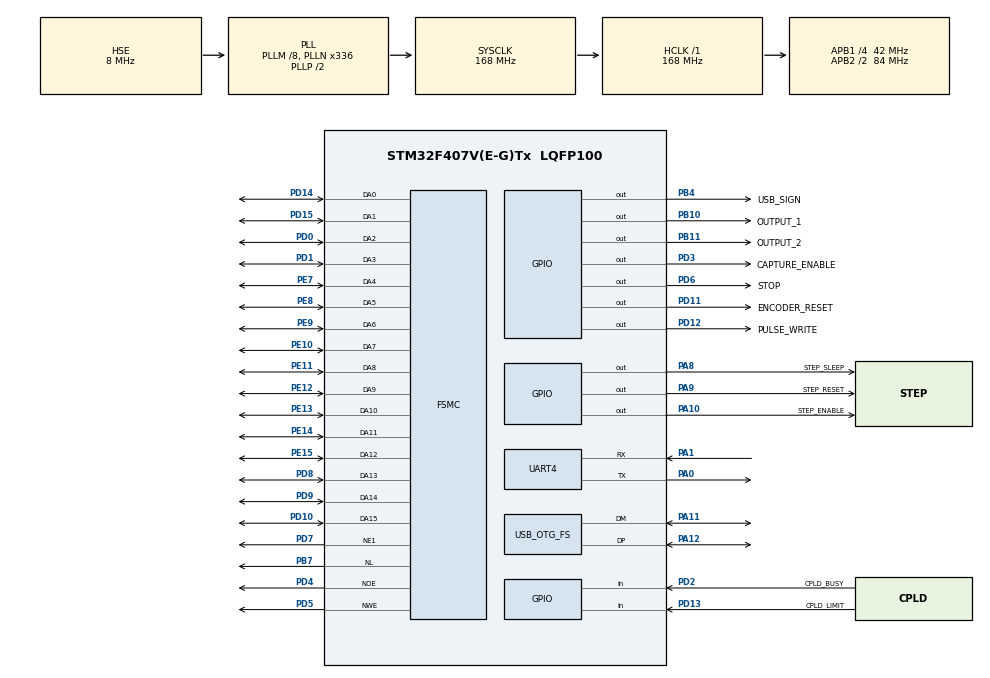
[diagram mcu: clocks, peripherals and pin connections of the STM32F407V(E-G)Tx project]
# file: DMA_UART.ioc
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Dma.Request0=UART4_TX
Dma.UART4_TX.0.Direction=DMA_MEMORY_TO_PERIPH
Dma.UART4_TX.0.FIFOMode=DMA_FIFOMODE_DISABLE
Dma.UART4_TX.0.Instance=DMA1_Stream4
Dma.UART4_TX.0.MemDataAlignment=DMA_MDATAALIGN_BYTE
Dma.UART4_TX.0.MemInc=DMA_MINC_ENABLE
Dma.UART4_TX.0.Mode=DMA_NORMAL
Dma.UART4_TX.0.PeriphDataAlignment=DMA_PDATAALIGN_BYTE
Dma.UART4_TX.0.PeriphInc=DMA_PINC_DISABLE
Dma.UART4_TX.0.Priority=DMA_PRIORITY_LOW
FREERTOS.Mutexes01=usbTxMutex,Dynamic,NULL
FREERTOS.Tasks01=defaultTask,2,2060,StartDefaultTask,Default,NULL,Dynamic,NULL,NULL;USB_RX_Check_,0,1024,Start_USB_RX_Task,Default,NULL,Dynamic,NULL,NULL
FREERTOS.configMINIMAL_STACK_SIZE=256
FSMC.WriteOperation1=FSMC_WRITE_OPERATION_ENABLE
Mcu.Family=STM32F4
Mcu.Name=STM32F407V(E-G)Tx
Mcu.Package=LQFP100
NVIC.DMA1_Stream4_IRQn=true\:5\:0\:false\:false\:true\:true\:false\:true
NVIC.OTG_FS_IRQn=true\:5\:0\:true\:false\:true\:true\:false\:true
NVIC.PriorityGroup=NVIC_PRIORITYGROUP_4
NVIC.TIM6_DAC_IRQn=true\:0\:0\:false\:false\:true\:false\:false\:true
NVIC.TIM7_IRQn=true\:5\:0\:false\:false\:true\:true\:true\:true
NVIC.TimeBase=TIM6_DAC_IRQn
NVIC.TimeBaseIP=TIM6
NVIC.UART4_IRQn=true\:5\:0\:false\:false\:true\:true\:true\:true
PA0-WKUP.Mode=Asynchronous
PA0-WKUP.Signal=UART4_TX
PA1.Mode=Asynchronous
PA1.Signal=UART4_RX
PA10.GPIO_Label=STEP_ENABLE
PA10.Signal=GPIO_Output
PA11.Mode=Device_Only
PA11.Signal=USB_OTG_FS_DM
PA12.Mode=Device_Only
PA12.Signal=USB_OTG_FS_DP
PA13.Mode=Serial_Wire
PA13.Signal=SYS_JTMS-SWDIO
PA14.Mode=Serial_Wire
PA14.Signal=SYS_JTCK-SWCLK
PA8.GPIO_Label=STEP_SLEEP
PA8.Signal=GPIO_Output
PA9.GPIO_Label=STEP_RESET
PA9.Signal=GPIO_Output
PB10.GPIO_Label=OUTPUT_1
PB10.Signal=GPIO_Output
PB11.GPIO_Label=OUTPUT_2
PB11.Signal=GPIO_Output
PB4.GPIO_Label=USB_SIGN
PB4.Signal=GPIO_Output
PB7.Signal=FSMC_NL
PD0.Mode=16b-da1
PD0.Signal=FSMC_DA2
PD1.Mode=16b-da1
PD1.Signal=FSMC_DA3
PD10.Mode=16b-da1
PD10.Signal=FSMC_DA15
PD11.GPIO_Label=ENCODER_RESET
PD11.GPIO_Speed=GPIO_SPEED_FREQ_LOW
PD11.Signal=GPIO_Output
PD12.GPIO_Label=PULSE_WRITE
PD12.GPIO_Speed=GPIO_SPEED_FREQ_VERY_HIGH
PD12.Signal=GPIO_Output
PD13.GPIO_Label=CPLD_LIMIT
PD13.GPIO_PuPd=GPIO_PULLUP
PD13.Signal=GPIO_Input
PD14.Mode=16b-da1
PD14.Signal=FSMC_DA0
PD15.Mode=16b-da1
PD15.Signal=FSMC_DA1
PD2.GPIO_Label=CPLD_BUSY
PD2.GPIO_PuPd=GPIO_PULLUP
PD2.Signal=GPIO_Input
PD3.GPIO_Label=CAPTURE_ENABLE
PD3.Signal=GPIO_Output
PD4.Mode=MuxedNorFlash1
PD4.Signal=FSMC_NOE
PD5.Mode=MuxedNorFlash1
PD5.Signal=FSMC_NWE
PD6.GPIO_Label=STOP
PD6.Signal=GPIO_Output
PD7.Mode=NorPsramChipSelect1_1
PD7.Signal=FSMC_NE1
PD8.Mode=16b-da1
PD8.Signal=FSMC_DA13
PD9.Mode=16b-da1
PD9.Signal=FSMC_DA14
PE10.Mode=16b-da1
PE10.Signal=FSMC_DA7
PE11.Mode=16b-da1
PE11.Signal=FSMC_DA8
PE12.Mode=16b-da1
PE12.Signal=FSMC_DA9
PE13.Mode=16b-da1
PE13.Signal=FSMC_DA10
PE14.Mode=16b-da1
PE14.Signal=FSMC_DA11
PE15.Mode=16b-da1
PE15.Signal=FSMC_DA12
PE7.Mode=16b-da1
PE7.Signal=FSMC_DA4
PE8.Mode=16b-da1
PE8.Signal=FSMC_DA5
PE9.Mode=16b-da1
PE9.Signal=FSMC_DA6
PH0-OSC_IN.Mode=HSE-External-Oscillator
PH0-OSC_IN.Signal=RCC_OSC_IN
PH1-OSC_OUT.Mode=HSE-External-Oscillator
PH1-OSC_OUT.Signal=RCC_OSC_OUT
ProjectManager.HeapSize=0x5fc0
ProjectManager.StackSize=0x400
ProjectManager.TargetToolchain=STM32CubeIDE
RCC.48MHZClocksFreq_Value=48000000
RCC.AHBFreq_Value=168000000
RCC.APB1CLKDivider=RCC_HCLK_DIV4
RCC.APB1Freq_Value=42000000
RCC.APB1TimFreq_Value=84000000
RCC.APB2CLKDivider=RCC_HCLK_DIV2
RCC.APB2Freq_Value=84000000
RCC.APB2TimFreq_Value=168000000
RCC.CortexFreq_Value=168000000
RCC.HCLKFreq_Value=168000000
RCC.HSE_VALUE=8000000
RCC.HSI_VALUE=16000000
RCC.LSE_VALUE=32768
RCC.PLLM=8
RCC.PLLN=336
RCC.PLLQ=7
RCC.SYSCLKFreq_VALUE=168000000
RCC.SYSCLKSource=RCC_SYSCLKSOURCE_PLLCLK
RCC.VCOOutputFreq_Value=336000000
SH.FSMC_NL.0=FSMC_NL,AddressValid1
TIM2.Period=0xffff
TIM2.Prescaler=25000
TIM7.Period=9999
TIM7.Prescaler=83
UART4.VirtualMode=Asynchronous
USB_DEVICE.CLASS_NAME_FS=CDC
USB_DEVICE.VirtualMode-CDC_FS=Cdc
USB_DEVICE.VirtualModeFS=Cdc_FS
USB_OTG_FS.VirtualMode=Device_Only
VP_FREERTOS_VS_CMSIS_V1.Mode=CMSIS_V1
VP_SYS_VS_tim6.Mode=TIM6
VP_TIM2_VS_ClockSourceINT.Mode=Internal
VP_TIM7_VS_ClockSourceINT.Mode=Enable_Timer
VP_USB_DEVICE_VS_USB_DEVICE_CDC_FS.Mode=CDC_FS
board=custom

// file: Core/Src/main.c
/* USER CODE BEGIN Header */
/**
  ******************************************************************************
  * @file           : main.c
  * @brief          : Main program body
  ******************************************************************************
  * @attention
  *
  * <h2><center>&copy; Copyright (c) 2020 STMicroelectronics.
  * All rights reserved.</center></h2>
  *
  * This software component is licensed by ST under BSD 3-Clause license,
  * the "License"; You may not use this file except in compliance with the
  * License. You may obtain a copy of the License at:
  *                        opensource.org/licenses/BSD-3-Clause
  *
  ******************************************************************************
  */
/* USER CODE END Header */
#include "main.h"
#include "cmsis_os.h"
#include "dma.h"
#include "tim.h"
#include "usart.h"
#include "usb_device.h"
#include "gpio.h"
#include "fsmc.h"

/* USER CODE BEGIN Includes */
#include "stdio.h"
#include "string.h"
#include "robot_lowlayer.h"
/* USER CODE END Includes */

void SystemClock_Config(void);
void MX_FREERTOS_Init(void);

int main(void)
{

  /* MCU Configuration--------------------------------------------------------*/

  /* Reset of all peripherals, Initializes the Flash interface and the Systick. */
  HAL_Init();

  /* Configure the system clock */
  SystemClock_Config();

  /* Initialize all configured peripherals */
  MX_GPIO_Init();
  MX_DMA_Init();
  MX_UART4_Init();
  MX_FSMC_Init();
  MX_TIM7_Init();
  MX_TIM2_Init();
  /* USER CODE BEGIN 2 */
//  HAL_GPIO_WritePin(CAPTURE_ENABLE_GPIO_Port, CAPTURE_ENABLE_Pin, RESET);
//  int32_t enc_0, enc_1, enc_2;
  //int32_t cap_0, cap_1, cap_2;
//  uint8_t lim0, lim1, lim2, lim3 , lim_regiter;
  //char report[30];
  //uint32_t total_pulse = 0;
  //lowlayer_writePulse(0, 0, 0, 0);
  //HAL_Delay(10);
  /* USER CODE END 2 */

  /* Call init function for freertos objects (in freertos.c) */
  MX_FREERTOS_Init();
  /* Start scheduler */
  osKernelStart();

  /* We should never get here as control is now taken by the scheduler */
  /* Infinite loop */
  /* USER CODE BEGIN WHILE */
//  while( total_pulse < 9009) {
//		  if (HAL_GPIO_ReadPin(CPLD_BUSY_GPIO_Port, CPLD_BUSY_Pin) != GPIO_PIN_RESET) {
//			  while(1);// Error
//		  }
//  		  lowlayer_writePulse(0, 0, 9, 0);
//  		  if (HAL_GPIO_ReadPin(CPLD_BUSY_GPIO_Port, CPLD_BUSY_Pin) != GPIO_PIN_SET) {
//  			  while(1);// Error
//  		  }
//  		  total_pulse = total_pulse + 9;
//
//  		  HAL_Delay(10);
//  	  }
//  lowlayer_writePulse(0, 0, 0, 0);
//  __NOP();

  while (1)
  {
    /* USER CODE END WHILE */

    /* USER CODE BEGIN 3 */
//	  cap_0 = lowlayer_readCapture(0);
//	  cap_1 = lowlayer_readCapture(1);
//	  cap_2 = lowlayer_readCapture(2);
//	  sprintf(report, "%d %d %d \r\n", (int)cap_0, (int)cap_1, (int)cap_2);
//	  LOG_REPORT(report, __LINE__);
//	  HAL_Delay(300);
  }
  /* USER CODE END 3 */
}

void SystemClock_Config(void)
{
  RCC_OscInitTypeDef RCC_OscInitStruct = {0};
  RCC_ClkInitTypeDef RCC_ClkInitStruct = {0};

  /** Configure the main internal regulator output voltage
  */
  __HAL_RCC_PWR_CLK_ENABLE();
  __HAL_PWR_VOLTAGESCALING_CONFIG(PWR_REGULATOR_VOLTAGE_SCALE1);
  /** Initializes the RCC Oscillators according to the specified parameters
  * in the RCC_OscInitTypeDef structure.
  */
  RCC_OscInitStruct.OscillatorType = RCC_OSCILLATORTYPE_HSE;
  RCC_OscInitStruct.HSEState = RCC_HSE_ON;
  RCC_OscInitStruct.PLL.PLLState = RCC_PLL_ON;
  RCC_OscInitStruct.PLL.PLLSource = RCC_PLLSOURCE_HSE;
  RCC_OscInitStruct.PLL.PLLM = 8;
  RCC_OscInitStruct.PLL.PLLN = 336;
  RCC_OscInitStruct.PLL.PLLP = RCC_PLLP_DIV2;
  RCC_OscInitStruct.PLL.PLLQ = 7;
  if (HAL_RCC_OscConfig(&RCC_OscInitStruct) != HAL_OK)
  {
    Error_Handler();
  }
  /** Initializes the CPU, AHB and APB buses clocks
  */
  RCC_ClkInitStruct.ClockType = RCC_CLOCKTYPE_HCLK|RCC_CLOCKTYPE_SYSCLK
                              |RCC_CLOCKTYPE_PCLK1|RCC_CLOCKTYPE_PCLK2;
  RCC_ClkInitStruct.SYSCLKSource = RCC_SYSCLKSOURCE_PLLCLK;
  RCC_ClkInitStruct.AHBCLKDivider = RCC_SYSCLK_DIV1;
  RCC_ClkInitStruct.APB1CLKDivider = RCC_HCLK_DIV4;
  RCC_ClkInitStruct.APB2CLKDivider = RCC_HCLK_DIV2;

  if (HAL_RCC_ClockConfig(&RCC_ClkInitStruct, FLASH_LATENCY_5) != HAL_OK)
  {
    Error_Handler();
  }
}

 /**
  * @brief  Period elapsed callback in non blocking mode
  * @note   This function is called  when TIM6 interrupt took place, inside
  * HAL_TIM_IRQHandler(). It makes a direct call to HAL_IncTick() to increment
  * a global variable "uwTick" used as application time base.
  * @param  htim : TIM handle
  * @retval None
  */
void HAL_TIM_PeriodElapsedCallback(TIM_HandleTypeDef *htim)
{
  if (htim->Instance == TIM6) {
    HAL_IncTick();
  }
}

void Error_Handler(void)
{
}

/************************ (C) COPYRIGHT STMicroelectronics *****END OF FILE****/

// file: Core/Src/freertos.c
/* USER CODE BEGIN Header */
/**
  ******************************************************************************
  * File Name          : freertos.c
  * Description        : Code for freertos applications
  ******************************************************************************
  * @attention
  *
  * <h2><center>&copy; Copyright (c) 2020 STMicroelectronics.
  * All rights reserved.</center></h2>
  *
  * This software component is licensed by ST under Ultimate Liberty license
  * SLA0044, the "License"; You may not use this file except in compliance with
  * the License. You may obtain a copy of the License at:
  *                             www.st.com/SLA0044
  *
  ******************************************************************************
  */
/* USER CODE END Header */

#include "FreeRTOS.h"
#include "task.h"
#include "main.h"
#include "cmsis_os.h"

/* USER CODE BEGIN Includes */
#include "tim.h"
#include "math.h"
#include <stdio.h>
#include <string.h>
#include <malloc.h>
#include "dma.h"
#include "usart.h"
#include "common_def.h"
#include "ringbuffer.h"
#include "robot_scara.h"
#include "robot_lowlayer.h"
#include "command_respond.h"
#include "kinematic.h"
#include "communicate_payload.h"
#include "usbd_cdc_if.h"
#include "fsmc.h"
#include "gpio.h"
#include "gcode_handler.h"
/* USER CODE END Includes */

/* USER CODE BEGIN Variables */

extern RINGBUFFER_TypeDef 			usb_rx_ringbuff;
extern RINGBUFFER_TypeDef 			cmd_tx_ringbuff;
extern const char 					*DETAIL_STATUS[NUM_OF_STATUS];
extern SCARA_PositionTypeDef		positionPrevios;
extern SCARA_PositionTypeDef		positionCurrent;
extern SCARA_PositionTypeDef		positionNext;
//extern SCARA_PositionTypeDef		positionTrue;
extern SCARA_Gcode_Cor_TypeDef		Gcode_Cor[1000];
extern int32_t						current_key_speed1 = 1;
extern double						up_z_height;
extern double 						down_z_height;
extern int32_t						total_num_of_point;
extern uint8_t						pnp_move_option = CMD_MOVE_LINE;
extern uint8_t 						continuous_update = 0;
extern uint8_t 						object_tail_pointer = 0;
extern uint8_t 						object_head_pointer = 0;
extern SCARA_Pick_And_Place_Package Object[8];
double *testing_array;
extern TIM_HandleTypeDef htim7;
osMailQId commandMailHandle;
/* USER CODE END Variables */
osThreadId defaultTaskHandle;
osThreadId USB_RX_Check_Handle;
osMutexId usbTxMutexHandle;

void StartDefaultTask(void const * argument);
void Start_USB_RX_Task(void const * argument);

extern void MX_USB_DEVICE_Init(void);
void MX_FREERTOS_Init(void); /* (MISRA C 2004 rule 8.1) */

/* GetIdleTaskMemory prototype (linked to static allocation support) */
void vApplicationGetIdleTaskMemory( StaticTask_t **ppxIdleTaskTCBBuffer, StackType_t **ppxIdleTaskStackBuffer, uint32_t *pulIdleTaskStackSize );

/* USER CODE BEGIN GET_IDLE_TASK_MEMORY */
static StaticTask_t xIdleTaskTCBBuffer;
static StackType_t xIdleStack[configMINIMAL_STACK_SIZE];

void vApplicationGetIdleTaskMemory( StaticTask_t **ppxIdleTaskTCBBuffer, StackType_t **ppxIdleTaskStackBuffer, uint32_t *pulIdleTaskStackSize )
{
  *ppxIdleTaskTCBBuffer = &xIdleTaskTCBBuffer;
  *ppxIdleTaskStackBuffer = &xIdleStack[0];
  *pulIdleTaskStackSize = configMINIMAL_STACK_SIZE;
  /* place for user code */
}
/* USER CODE END GET_IDLE_TASK_MEMORY */

void MX_FREERTOS_Init(void) {
  /* Create the mutex(es) */
  /* definition and creation of usbTxMutex */
  osMutexDef(usbTxMutex);
  usbTxMutexHandle = osMutexCreate(osMutex(usbTxMutex));

  /* USER CODE BEGIN RTOS_QUEUES */
  /* add queues, ... */
	  /* Create the queue(s) */
	  /* definition and creation of commandMail */
	  osMailQDef(commandMail, 1, DUTY_Command_TypeDef);
	  commandMailHandle = osMailCreate(osMailQ(commandMail), NULL);

  /* USER CODE END RTOS_QUEUES */

  /* Create the thread(s) */
  /* definition and creation of defaultTask */
  osThreadDef(defaultTask, StartDefaultTask, osPriorityHigh, 0, 2060);
  defaultTaskHandle = osThreadCreate(osThread(defaultTask), NULL);

  /* definition and creation of USB_RX_Check_ */
  osThreadDef(USB_RX_Check_, Start_USB_RX_Task, osPriorityNormal, 0, 1024);
  USB_RX_Check_Handle = osThreadCreate(osThread(USB_RX_Check_), NULL);

}

void StartDefaultTask(void const * argument)
{
  /* init code for USB_DEVICE */
  MX_USB_DEVICE_Init();
  /* USER CODE BEGIN StartDefaultTask */
  HAL_GPIO_WritePin(USB_SIGN_GPIO_Port, USB_SIGN_Pin, GPIO_PIN_SET); // Pull-up Resistor

  osEvent 				ret_mail;
  DUTY_Command_TypeDef 	duty_cmd;
  DUTY_Command_TypeDef 	*dataMail;
  uint8_t 				isNewDuty = FALSE;

  // Report buffer;
  uint8_t				update_pos_counter = 0;
  int8_t 				test_value[4];
  uint8_t				respond[80];
  int32_t				respond_lenght;
  //uint8_t				position[135];
  //uint8_t				infor[145];
//  int32_t				infor_lenght;
//  uint8_t				task_usb[150];
//  int32_t				task_usb_lenght;
  int32_t 				total_respond_length;
//  int32_t 				detail_ptr;
  uint8_t				detail_array[80];

  uint8_t 				testing_value = 0;
//  double 				value1 = 0;
//  double 				value2 = 0;
//  double  			value3 = 0;
//  uint8_t				respond_packed[50];
//  int32_t				respond_packed_lenght;
  //uint8_t				infor_packed[150];
  //int32_t				infor_packed_lenght;
  //uint8_t				usb_buff[350];
  //int32_t				usb_lenght;
  // Debug variables
  //uint32_t total_pulse = 0;

  // Robot variables
  SCARA_MethodTypeDef		current_method;
  SCARA_ModeTypeDef			current_mode;
  SCARA_DutyStateTypeDef 	current_duty_state;
  SCARA_ScanStateTypeDef	current_scan_state;
  SCARA_KeyStateTypeDef		current_key_state;
  SCARA_KeyTypeDef			current_key;
  SCARA_PositionTypeDef 	update_position;
  int32_t					current_key_speed;
  SCARA_MethodChangeState	method_state = SCARA_METHOD_IDLE;
  double						run_time;

  SCARA_Pick_And_Place_State  operation_state;

  double state_time = 0;
  int run_point = 0;
  const SCARA_Slot_TypeDef SLot_Cordinate[NUM_OF_OBJECT] = {
  		{254.112f, -137.7f, 0.0f} ,
  		{256.021f, -107.46f, 0.0f} ,
  		{257.2121f, -76.9947f, 0.0f} ,
  		{258.221f, -47.1851f, 0.0f} ,
		{260.695f, -17.075f, 0.0f} ,
		{260.4f, 13.66f, 0.0f}
  };
  const double placement_spacing = -34.0f;
  uint8_t Slot_Placement[NUM_OF_OBJECT] = {
		  0, 0, 0, 0, 0, 0
  };

  LOG_REPORT("free_rtos.c: PROGRAM START...", __LINE__);

  // Init value
  current_method = scaraGetMethod();
  current_mode	 = scaraGetMode();
  current_duty_state	 = scaraGetDutyState();

  // Start up robot
  scaraStartup();
  osDelay(10);

//   positionNext.Theta1 = -PI/3;
//   positionNext.Theta2 = PI/3;
//   positionNext.D3 = 10;
//   positionNext.Theta4 = 0;
//   positionNext.t = 0;

  positionNext.Theta1 = -1.4345;
  positionNext.Theta2 = 1.7213f;
  positionNext.D3 = 9.826;
  positionNext.Theta4 = 0.28676;
  positionNext.t = 0;

  kinematicForward(&positionNext);
  /* Infinite loop */
//Start Timer 7
	  HAL_TIM_Base_Start_IT(&htim7);

  for(;;)
  {
	  /*---------Wait for Timer Trigger-----------*/
	  osSignalWait(0x01, osWaitForever); // Very Important
	  /* 1--- Reset Value ---*/
	  respond_lenght		= 0;
//	  respond_packed_lenght = 0;
//	  infor_lenght			= 0;
//	  infor_packed_lenght	= 0;
	  //task_usb_lenght		= 0;
	  //usb_lenght			= 0;
	  total_respond_length  = 0;
//	  detail_ptr 			= 0;
	  // Update new position
//	  memcpy(&positionPrevios, &positionCurrent, sizeof(SCARA_PositionTypeDef));
	  memcpy(&positionCurrent, &positionNext, sizeof(SCARA_PositionTypeDef));

	  /* 2--- Check New Duty Phase ---*/
	  // Check mail
	  ret_mail = osMailGet(commandMailHandle, 0);
	  if ( ret_mail.status == osEventMail) {
		   dataMail = ret_mail.value.p;
		   memcpy( &duty_cmd, dataMail, sizeof(DUTY_Command_TypeDef));
		   isNewDuty = TRUE;
		   osMailFree(commandMailHandle, dataMail);/* free memory allocated for mail */
	  }
	  if(isNewDuty) {
		  if (duty_cmd.change_method == TRUE && method_state == SCARA_METHOD_IDLE) {
			  if (SCARA_METHOD_MANUAL == duty_cmd.robot_method) {
				  // Need add check condition idle in each method
				  current_method = SCARA_METHOD_MANUAL;
				  current_duty_state = SCARA_DUTY_STATE_READY;
				  detail_array[0] = MANUAL_METHOD;
				  respond_lenght = commandRespond(RPD_OK, duty_cmd.id_command, detail_array, 1, &respond[total_respond_length]);
				total_respond_length += respond_lenght;
			  } else if (SCARA_METHOD_SEMI_AUTO == duty_cmd.robot_method) {
				  current_method = SCARA_METHOD_SEMI_AUTO;
				  current_duty_state = SCARA_DUTY_STATE_READY;
				  detail_array[0] = SEMI_AUTO_METHOD;
				  respond_lenght = commandRespond(RPD_OK, duty_cmd.id_command, detail_array, 1, &respond[total_respond_length]);
				  total_respond_length += respond_lenght;
			  } else if (SCARA_METHOD_GCODE == duty_cmd.robot_method) {
				  current_duty_state = SCARA_DUTY_STATE_INIT;
				  current_method = SCARA_METHOD_GCODE;
				  detail_array[0] = GCODE_METHOD;
				  respond_lenght = commandRespond(RPD_OK, duty_cmd.id_command, detail_array, 1, &respond[total_respond_length]);
				  total_respond_length += respond_lenght;
			  }else if(SCARA_METHOD_TEST == duty_cmd.robot_method){
				  test_value[0] = 0;
				  test_value[1] = 0;
				  test_value[2] = 0;
				  test_value[3] = 0;
				  current_method = SCARA_METHOD_TEST;
				  current_duty_state = SCARA_DUTY_STATE_READY;
				  detail_array[0] = TEST_METHOD;
				  respond_lenght = commandRespond(RPD_OK, duty_cmd.id_command, detail_array, 1, &respond[total_respond_length]);
				  total_respond_length += respond_lenght;
			  }else if(SCARA_METHOD_PICK_AND_PLACE == duty_cmd.robot_method){
				  current_method = SCARA_METHOD_PICK_AND_PLACE;
				  current_duty_state = SCARA_DUTY_STATE_INIT;
				  detail_array[0] = PICK_AND_PLACE_METHOD;
				  respond_lenght = commandRespond(RPD_OK, duty_cmd.id_command, detail_array, 1, &respond[total_respond_length]);
				  total_respond_length += respond_lenght;
			  }
		  } else if(duty_cmd.change_method == FALSE && method_state == SCARA_METHOD_IDLE) {
			  	  // Check current method & cmd method
			  	  if (current_method == duty_cmd.robot_method) {
				  	  switch( duty_cmd.robot_method) {
				  	  case SCARA_METHOD_MANUAL:
				  	  {
				  		  if (current_key_state == SCARA_KEY_STATE_READY) {
				  			  current_key = duty_cmd.keyboard;
				  			  current_key_state = SCARA_KEY_STATE_INIT;// Init new path
				  			  current_key_speed = duty_cmd.key_speed;
				  		  } else if (current_key == duty_cmd.keyboard
				  				  	  && current_key_state == SCARA_KEY_STATE_FLOW
									  && current_key_speed == duty_cmd.key_speed) {
				  			  current_key_state = SCARA_KEY_STATE_INIT;// Continue old path
				  		  }
				  	  }
				  	  break;
				  	  case SCARA_METHOD_SEMI_AUTO:
				  	  {
						  switch( duty_cmd.robot_mode) {
						  case SCARA_MODE_STOP:
							  {
								  current_mode	 = SCARA_MODE_STOP;
								detail_array[0] = STOP_NOW;
								respond_lenght = commandRespond(RPD_OK, duty_cmd.id_command, detail_array, 1, &respond[total_respond_length]);
								total_respond_length += respond_lenght;
//								  LOG_REPORT("ROBOT STOP !!!", __LINE__);
							  }
							  break;

						  case SCARA_MODE_SCAN:
							  {
								  if (SCARA_MODE_DUTY == current_mode && SCARA_DUTY_STATE_READY == current_duty_state) {
									  current_mode = SCARA_MODE_SCAN;
									  current_scan_state = SCARA_SCAN_STATE_INIT;
									detail_array[0] = START_SCAN;
									respond_lenght = commandRespond(RPD_OK, duty_cmd.id_command, detail_array, 1, &respond[total_respond_length]);
									total_respond_length += respond_lenght;
								  } else {
									detail_array[0] = BUSY;
									respond_lenght = commandRespond(RPD_ERROR, duty_cmd.id_command, detail_array, 1, &respond[total_respond_length]);
									total_respond_length += respond_lenght;
									  LOG_REPORT("SCAN FAIL: BUSY", __LINE__);
								  }
							  }
							  break;

						  case SCARA_MODE_DUTY:
							  {
								  if (SCARA_MODE_DUTY == current_mode && SCARA_DUTY_STATE_READY == current_duty_state) {
									  if (scaraIsScanLimit()) {
										  current_mode	 = SCARA_MODE_DUTY;
										  current_duty_state	 = SCARA_DUTY_STATE_INIT;
									  } else {
										detail_array[0] = NOT_SCAN;
										respond_lenght = commandRespond(RPD_ERROR, duty_cmd.id_command, detail_array, 1, &respond[total_respond_length]);
										total_respond_length += respond_lenght;
										  LOG_REPORT("MOVE FAIL:NOT SCAN", __LINE__);
									  }
								  } else {
									detail_array[0] = BUSY;
									respond_lenght = commandRespond(RPD_ERROR, duty_cmd.id_command, detail_array, 1, &respond[total_respond_length]);
									total_respond_length += respond_lenght;
//									  LOG_REPORT("MOVE FAIL:BUSY", __LINE__);
								  }
							  }
							  break;
						  default:
							  {
								  LOG_REPORT("CMD Error Mode !!!", __LINE__);
							  }
						  }
					  }
					  break;
					  case SCARA_METHOD_TEST:
					  {
//						  test_value[0] = 0;
//						  test_value[1] = 0;
//						  test_value[2] = 0;
//						  test_value[3] = 0;
						  current_duty_state = SCARA_DUTY_STATE_FLOW;
						  switch (duty_cmd.test_key)
						  {
						  case SCARA_TEST_MOTOR1_POS:
							 test_value[duty_cmd.test_key/2] = test_value_array[0];
						  break;
						  case SCARA_TEST_MOTOR1_NEG:
							 test_value[duty_cmd.test_key/2] = -test_value_array[0];
						  break;
						  case SCARA_TEST_MOTOR2_POS:
							 test_value[duty_cmd.test_key/2] = test_value_array[1];
						  break;
						  case SCARA_TEST_MOTOR2_NEG:
							 test_value[duty_cmd.test_key/2] = -test_value_array[1];
						  break;
						  case SCARA_TEST_MOTOR3_POS:
							 test_value[duty_cmd.test_key/2] = test_value_array[2];
						  break;
						  case SCARA_TEST_MOTOR3_NEG:
							 test_value[duty_cmd.test_key/2] = -test_value_array[2];
						  break;
						  case SCARA_TEST_MOTOR4_POS:
							 test_value[duty_cmd.test_key/2] = test_value_array[3];
						  break;
						  case SCARA_TEST_MOTOR4_NEG:
							 test_value[duty_cmd.test_key/2] = -test_value_array[3];
						  break;
						  default:
							  current_duty_state = SCARA_DUTY_STATE_READY;
						  break;
						  }
					  }
					  break;
				  	  case SCARA_METHOD_GCODE:
				  	  {
				  		  if(current_duty_state == SCARA_DUTY_STATE_READY && duty_cmd.id_command == CMD_GCODE_RUN && Gcode_data_available && offset_data_available){
				  			  if(Gcode_Mode == GCODE_LINEAR){
				  				run_point = 1;
				  			  }else if(Gcode_Mode == GCODE_SMOOTH_LSPB){
				  				run_point = 0;
				  			  }
				  			detail_array[0] = GCODE_START;
							respond_lenght = commandRespond(RPD_START, duty_cmd.id_command, detail_array, 1, &respond[total_respond_length]);
							total_respond_length += respond_lenght;
				  			current_duty_state = SCARA_DUTY_STATE_OPERATION;
				  		  }else if(current_duty_state == SCARA_DUTY_STATE_INIT){
				  			detail_array[0] = GCODE_MODE_NOT_READY;
							respond_lenght = commandRespond(RPD_OK, duty_cmd.id_command, detail_array, 1, &respond[total_respond_length]);
							total_respond_length += respond_lenght;
				  		  }else if(duty_cmd.id_command == CMD_GCODE_STOP){
				  			  current_duty_state = SCARA_DUTY_STATE_INIT;
				  		  }else if(Gcode_data_available == 0){
				  			detail_array[0] = GCODE_DATA_MISSING;
						    respond_lenght = commandRespond(RPD_OK, duty_cmd.id_command, detail_array, 1, &respond[total_respond_length]);
						    total_respond_length += respond_lenght;
				  		  }else if(offset_data_available == 0){
				  			detail_array[0] = GCODE_OFFSET_MISSING;
							respond_lenght = commandRespond(RPD_OK, duty_cmd.id_command, detail_array, 1, &respond[total_respond_length]);
							total_respond_length += respond_lenght;
				  		  }
				  	  }
				  	  break;
				  	  case SCARA_METHOD_PICK_AND_PLACE:{
//				  		  memcpy(&Object[object_head_pointer].object_position, &duty_cmd.target_point, sizeof(SCARA_PositionTypeDef));
//				  		  Object[object_head_pointer].timer_value = duty_cmd.target_point.packet_time_stamp;
//				  		  object_head_pointer = (object_head_pointer+1)%8;
//				  		  detail_array[0] = OBJECT_DETECTED;
//				  		  detail_array[1] = duty_cmd.target_point.object_type;
//						  respond_lenght = commandRespond1(RPD_OK, duty_cmd.id_command, detail_array, 2, &respond[total_respond_length]);
//						  total_respond_length += respond_lenght;
				  	  }
				  	  break;
				  	  default:
				  	  {
//				  		  LOG_REPORT("CMD Error Method !!!", __LINE__);
				  	  }
				  	  }
			  	  } else {
					detail_array[0] = INCORRECT_METHOD;
					respond_lenght = commandRespond(RPD_ERROR, duty_cmd.id_command, detail_array, 1, &respond[total_respond_length]);
					total_respond_length += respond_lenght;
			  	  }

			  }else{
				  detail_array[0] = BUSY;
				  respond_lenght = commandRespond(RPD_ERROR, duty_cmd.id_command, detail_array, 1, &respond[total_respond_length]);
				  total_respond_length += respond_lenght;
			  }
		  isNewDuty = FALSE;
	  }

	  /* 3--- Execute Phase ---*/
	  switch(current_method) {
	  case SCARA_METHOD_MANUAL:
	  {
		  switch( current_key_state) {
		  case SCARA_KEY_STATE_READY:
			  method_state = SCARA_METHOD_IDLE;
			  /* Wait for application keyboard , do nothing*/
		  break;
		  case SCARA_KEY_STATE_INIT:
		  {
			  method_state = SCARA_METHOD_ACTIVE;
			  if (scaraKeyInit1(current_key, current_key_speed1) == SCARA_STATUS_OK) {
				  run_time = 0;
				  current_key_state = SCARA_KEY_STATE_FLOW;
					detail_array[0] = NONE;
					respond_lenght = commandRespond(RPD_START, duty_cmd.id_command, detail_array, 1, &respond[total_respond_length]);
					total_respond_length += respond_lenght;
			  } else {
				  current_key_state = SCARA_KEY_STATE_READY;
			  }
		  }
		  break;
		  case SCARA_KEY_STATE_FLOW:
		  {
			  method_state = SCARA_METHOD_ACTIVE;
			  SCARA_StatusTypeDef status;
			  // Increase run time
			  run_time += T_SAMPLING;
			  // Check Time Out
			  if (scaraIsFinish(run_time)) {
				  current_key_state = SCARA_KEY_STATE_FINISH;// Key Done
			  } else {
				  //status = scaraKeyFlow(run_time, &positionNext, positionCurrent);
				  status = scaraFlowDuty(run_time, &positionNext, positionCurrent);
				  if ( SCARA_STATUS_OK == status) {
					  lowlayer_computeAndWritePulse(positionCurrent, positionNext);
				  } else {
					  current_key_state = SCARA_KEY_STATE_FINISH;
					detail_array[0] = status;
					respond_lenght = commandRespond(RPD_STOP, duty_cmd.id_command, detail_array, 1, &respond[total_respond_length]);
					total_respond_length += respond_lenght;
					  LOG_REPORT("STOP KEY", __LINE__);
				  }
			  }
		  }
		  break;
		  case SCARA_KEY_STATE_FINISH:
		  {
			  lowlayer_readTruePosition(&positionNext);
			  kinematicForward(&positionNext);
			  current_key_state = SCARA_KEY_STATE_READY;
			  positionNext.t = 0;
			  positionNext.total_time = 0;
			  positionNext.q = 0;
		  }
		  break;
		  }
	  }
	  break;

	  case SCARA_METHOD_SEMI_AUTO:
	  {
		  switch( current_mode) {
		  case SCARA_MODE_STOP:
			  {
				  current_mode 	= SCARA_MODE_DUTY;
				  current_duty_state = SCARA_DUTY_STATE_READY;
			  }
		  break;

		  case SCARA_MODE_SCAN:
			  {
				  method_state = SCARA_METHOD_ACTIVE;
				  switch (current_scan_state) {
				  case SCARA_SCAN_STATE_INIT:
					  {
						  lowlayer_scanReset();
						  current_scan_state = SCARA_SCAN_STATE_HARD;
					  }
					  break;
				  case SCARA_SCAN_STATE_HARD:
					  {
						  if(lowlayer_scanFlow()) {
							  current_scan_state = SCARA_SCAN_STATE_SOFT;
						  }
					  }
					  break;
				  case SCARA_SCAN_STATE_SOFT:
					  {
						  if(lowlayer_goToSoftLimit(&positionNext)) {
							  current_scan_state = SCARA_SCAN_STATE_FINISH;
							}
					  }
					  break;
				  case SCARA_SCAN_STATE_FINISH:
					  {
						  //lowlayer_readSetPosition(&positionNext);
						  lowlayer_readTruePosition(&positionNext);
						  kinematicForward(&positionNext);
						  current_mode 	= SCARA_MODE_DUTY;
						  current_duty_state = SCARA_DUTY_STATE_READY;
						  scaraSetScanFlag();

						detail_array[0] = NONE;
						respond_lenght = commandRespond(RPD_DONE, duty_cmd.id_command, detail_array, 1, &respond[total_respond_length]);
						total_respond_length += respond_lenght;
					  }
					  break;
				  default:
					  {
						  LOG_REPORT("ERROR STATE !!!", __LINE__);
						  while(1);
					  }
				  }

			  }
		  break;

		  case SCARA_MODE_DUTY:
			  {
				  switch (current_duty_state) {
				  case SCARA_DUTY_STATE_READY:
					  {
						  // Do nothing;
						  method_state = SCARA_METHOD_IDLE;
					  }
				  break;

				  case SCARA_DUTY_STATE_INIT:
					  {
						  method_state = SCARA_METHOD_ACTIVE;
						  SCARA_StatusTypeDef status1, status2;
						  status1 = scaraInitDuty(duty_cmd);
						  if ( SCARA_STATUS_OK == status1) {
							  status2 = scaraTestDuty();
							  if (SCARA_STATUS_OK == status2) {
							  current_duty_state = SCARA_DUTY_STATE_FLOW;
							  //current_duty_state = SCARA_DUTY_STATE_FINISH;
							  run_time			= 0;
							  // Respond
//							  detail_array[0] = status1;
//							  respond_lenght = commandRespond1(RPD_OK, duty_cmd.id_command, detail_array, 1, &respond[total_respond_length]);
//							  total_respond_length += respond_lenght;
							  detail_array[0] = NONE;
							  respond_lenght = commandRespond(RPD_START, duty_cmd.id_command, detail_array, 1, &respond[total_respond_length]);
							  total_respond_length += respond_lenght;

							  } else {
								  current_duty_state 	= SCARA_DUTY_STATE_READY;

								  //LOG_REPORT("TEST FAIL", __LINE__);
								detail_array[0] = status2;
								respond_lenght = commandRespond(RPD_ERROR, duty_cmd.id_command, detail_array, 1, &respond[total_respond_length]);
								total_respond_length += respond_lenght;
							  }
						  } else {
							  current_duty_state 	= SCARA_DUTY_STATE_READY;

							detail_array[0] = status1;
							respond_lenght = commandRespond(RPD_ERROR, duty_cmd.id_command, detail_array, 1, &respond[total_respond_length]);
							total_respond_length += respond_lenght;
							  LOG_REPORT("INIT FAIL", __LINE__);
						  }
					  }
				  break;

				  case SCARA_DUTY_STATE_FLOW:
					  {
						  method_state = SCARA_METHOD_ACTIVE;
						  SCARA_StatusTypeDef status;
						  // Increase run time
						  run_time += T_SAMPLING;
						  // Check Time Out
						  if (scaraIsFinish(run_time)) {
							  current_duty_state = SCARA_DUTY_STATE_FINISH;// Work Done
						  } else {
							  status = scaraFlowDuty(run_time , &positionNext, positionCurrent);
							  if ( SCARA_STATUS_OK == status) {
								  lowlayer_computeAndWritePulse(positionCurrent, positionNext);

							  } else {
								  current_duty_state = SCARA_DUTY_STATE_FINISH;

								detail_array[0] = status;
								respond_lenght = commandRespond(RPD_STOP, duty_cmd.id_command, detail_array, 1, &respond[total_respond_length]);
								total_respond_length += respond_lenght;
								  LOG_REPORT("STOP DUTY", __LINE__);
							  }
						  }
					  }
				  break;

				  case SCARA_DUTY_STATE_FINISH:
					  {
						  lowlayer_readTruePosition(&positionNext);
						  kinematicForward(&positionNext);
						  current_duty_state = SCARA_DUTY_STATE_READY;
//						  positionNext.t = 0;
//						  positionNext.total_time = 0;
//						  positionNext.q = 0;

						  detail_array[0] = NONE;
						  respond_lenght = commandRespond(RPD_DONE, duty_cmd.id_command, detail_array, 1, &respond[total_respond_length]);
						  total_respond_length += respond_lenght;
					  }
				  break;

				  default:
					  {
						  LOG_REPORT("ERROR STATE !!!", __LINE__);
						  while(1);
					  }
				  }

			  }
			  break;

		  default:
			  {
				  LOG_REPORT("ERROR MODE !!!", __LINE__);
				  while(1);
			  }
		  }
	  }
	  break;

	  case SCARA_METHOD_GCODE:
	  {
		  switch (current_duty_state)
		  {
		  case SCARA_DUTY_STATE_INIT:{
			  method_state = SCARA_METHOD_IDLE;
			  if(fabs(positionCurrent.x - offset_x) < 4 && fabs(positionCurrent.y - offset_y) < 4 && fabs(positionCurrent.z - offset_z) < 4){
				  current_duty_state = SCARA_DUTY_STATE_READY;
			  }
		  }
		  break;
		  case SCARA_DUTY_STATE_READY:{
			  // do nothing wait for hot key
			  method_state = SCARA_METHOD_IDLE;
		  }
		  break;
		  case SCARA_DUTY_STATE_OPERATION:{
			  method_state = SCARA_METHOD_ACTIVE;
			  update_gcode_point(&duty_cmd, run_point);
			  testing_value = 1;
			  SCARA_StatusTypeDef status;
			  status = scaraInitDuty(duty_cmd);
			  if(status == SCARA_STATUS_OK){
				  if(duty_cmd.trajec_type == DUTY_TRAJECTORY_LINEAR || duty_cmd.trajec_type == DUTY_TRAJECTORY_LSPB){
					  run_time = 0;
				  }else if(duty_cmd.trajec_type == DUTY_TRAJECTORY_GCODE_LSPB){
					  run_time = last_T;
				  }
				  current_duty_state = SCARA_DUTY_STATE_FLOW;
				  detail_array[0] = (uint8_t)((run_point+1) * 100.0f / total_num_of_point );
				  respond_lenght = commandRespond(RDP_GCODE_PROCESS, duty_cmd.id_command, detail_array, 1, &respond[total_respond_length]);
				  total_respond_length += respond_lenght;
			  }else{
				  current_duty_state = SCARA_DUTY_STATE_FINISH;
				  detail_array[0] = status;
				  respond_lenght = commandRespond(RPD_ERROR, duty_cmd.id_command, detail_array, 1, &respond[total_respond_length]);
				  total_respond_length += respond_lenght;
				  break;
			  }
		  }
		  //break;

		  case SCARA_DUTY_STATE_FLOW:{
			  method_state = SCARA_METHOD_ACTIVE;
			  run_time += T_SAMPLING;
			  // Check Time Out
			  if (scaraIsFinish(run_time)) {
				if(run_point >= total_num_of_point-1){
					current_duty_state = SCARA_DUTY_STATE_INIT;
					lowlayer_readTruePosition(&positionNext);
				    kinematicForward(&positionNext);
				    Gcode_data_available = 0;
				    detail_array[0] = GCODE_FINISH;
					respond_lenght = commandRespond(RPD_DONE, duty_cmd.id_command, detail_array, 1, &respond[total_respond_length]);
					total_respond_length += respond_lenght;
				}else{
					if(Gcode_Mode == GCODE_SMOOTH_LSPB){
						accumulate_update(Gcode_Cor[run_point++]);
					//}else if(Gcode_Cor[run_point].configure.type_define[0] == BEZIER_TYPE){
						//run_point+=2;
					}else{
						run_point++;
					}
					current_duty_state = SCARA_DUTY_STATE_OPERATION;
					positionNext.x = duty_cmd.target_point.x;
					positionNext.y = duty_cmd.target_point.y;
					positionNext.z = duty_cmd.target_point.z;
					positionNext.roll = duty_cmd.target_point.roll;
					//memcpy(&positionNext, &duty_cmd.target_point, sizeof(SCARA_PositionTypeDef));
				}

//				lowlayer_readTruePosition(&positionNext);
//				kinematicForward(&positionNext);
			  } else{
				SCARA_StatusTypeDef status = scaraFlowDuty(run_time , &positionNext, positionCurrent);
				if ( SCARA_STATUS_OK == status) {
					lowlayer_computeAndWritePulse(positionCurrent, positionNext);
			    }else{
			  	    current_duty_state = SCARA_DUTY_STATE_FINISH;
			  	    detail_array[0] = status;
			  	    respond_lenght = commandRespond(RPD_ERROR, duty_cmd.id_command, detail_array, 1, &respond[total_respond_length]);
			  	    total_respond_length += respond_lenght;
			    }
			  }
		  }
		  break;

		  case SCARA_DUTY_STATE_FINISH:{
			  method_state = SCARA_METHOD_IDLE;
		  }
		  break;

		  default:
			  break;
		  }
	  }

	  break;
	  case SCARA_METHOD_TEST:
	  {
		  switch(current_duty_state){
		  case SCARA_DUTY_STATE_READY:
			  method_state = SCARA_METHOD_IDLE;
		  break;
		  case SCARA_DUTY_STATE_FLOW:
			  method_state = SCARA_METHOD_ACTIVE;
			  lowlayer_writePulse(test_value[0], test_value[1], test_value[2], test_value[3]);
		  break;
		  }

	  }
	  break;

	  case SCARA_METHOD_PICK_AND_PLACE:
	  {
		  switch(current_duty_state) {
		  case SCARA_DUTY_STATE_INIT:{
			  //HAL_TIM_Base_Start(&htim2);
			  object_tail_pointer = 0;
			  object_head_pointer = 0;
			  operation_state = SCARA_MOVE_TO_TARGET;
			  current_duty_state = SCARA_DUTY_STATE_OPERATION;
			  duty_cmd.robot_method = SCARA_METHOD_PICK_AND_PLACE;
			  duty_cmd.path_type = DUTY_PATH_LINE;
			  duty_cmd.space_type = DUTY_SPACE_TASK;

		  }
		  break;

		  case SCARA_DUTY_STATE_OPERATION:{
			  if(object_tail_pointer != object_head_pointer){
				  method_state = SCARA_METHOD_ACTIVE;
				  switch(operation_state){
					  case SCARA_MOVE_TO_TARGET:{
						  if(PNP_MOVE_TYPE == DUTY_MODE_INIT_QT){
							  double wait_time = 1e-6*((uint64_t)(GET_MICROS - Object[object_tail_pointer].timer_value)) + MOVE_FACTOR + PUT_DOWN_TIME_ON_OBJECT + ATTACH_TIME;
							  state_time = MOVE_FACTOR;
//							  Object[object_tail_pointer].object_position.y -= wait_time*CONVEYOR_SPEED;
//							  Object[object_tail_pointer].object_position.z = UP_HEIGHT;
							  duty_cmd.target_point.x = Object[object_tail_pointer].object_position.x;
							  duty_cmd.target_point.y = Object[object_tail_pointer].object_position.y - wait_time*CONVEYOR_SPEED;
							  duty_cmd.target_point.z = UP_HEIGHT;
							  duty_cmd.target_point.roll = Object[object_tail_pointer].object_position.roll;
						  }else if(PNP_MOVE_TYPE == DUTY_MODE_INIT_QV){
							  double has_moved_distance = CONVEYOR_SPEED*(1e-6*((uint64_t)(GET_MICROS - Object[object_tail_pointer].timer_value)) + PUT_DOWN_TIME_ON_OBJECT + ATTACH_TIME);
							  double implement_distance = PNPcalMovDistance(positionCurrent.x, positionCurrent.y, Object[object_tail_pointer].object_position.x, Object[object_tail_pointer].object_position.y-has_moved_distance, MOVE_FACTOR*V_MOVE_MAX/1.5, CONVEYOR_SPEED);
//							  Object[object_tail_pointer].object_position.y -= (has_moved_distance+implement_distance);
//							  Object[object_tail_pointer].object_position.z = UP_HEIGHT;
							  duty_cmd.target_point.x = Object[object_tail_pointer].object_position.x;
							  duty_cmd.target_point.y = Object[object_tail_pointer].object_position.y - has_moved_distance - implement_distance;
							  duty_cmd.target_point.z = UP_HEIGHT;
							  duty_cmd.target_point.roll = Object[object_tail_pointer].object_position.roll;
							  state_time = 0;
						  }
					  }
					  break;

					  case SCARA_MOVE_DOWN_ON_OBJECT:{
//						  Object[object_tail_pointer].object_position.z = DOWN_HEIGHT_ON_OBJECT;
						  duty_cmd.target_point.z = DOWN_HEIGHT_ON_OBJECT;
						  state_time = PUT_DOWN_TIME_ON_OBJECT;
					  }
					  break;
					  case SCARA_ATTACH:{
//						  state_time = ATTACH_TIME;
						  state_time = 0;
						  scaraSetOutput(1);
					  }
					  break;
					  case SCARA_MOVE_UP_ON_OBJECT:{
//						  Object[object_tail_pointer].object_position.z = UP_HEIGHT;
						  duty_cmd.target_point.z = UP_HEIGHT;
						  state_time = PICK_UP_TIME_ON_OBJECT;
					  }
					  break;
					  case SCARA_MOVE_TO_SLOT :{
						  ObjectType current_type = Object[object_tail_pointer].object_type;
//						  Object[object_tail_pointer].object_position.x = SLot_Cordinate[current_type].posx + Slot_Placement[current_type]*placement_spacing;
//						  Object[object_tail_pointer].object_position.y = SLot_Cordinate[current_type].posy;
//						  Object[object_tail_pointer].object_position.roll = SLot_Cordinate[current_type].roll;
//						  Object[object_tail_pointer].object_position.z = UP_HEIGHT;

						  duty_cmd.target_point.x = SLot_Cordinate[current_type].posx + Slot_Placement[current_type]*placement_spacing;
						  duty_cmd.target_point.y = SLot_Cordinate[current_type].posy;
						  duty_cmd.target_point.z = UP_HEIGHT;
						  duty_cmd.target_point.roll = SLot_Cordinate[current_type].roll;

						  if(PNP_MOVE_TYPE == DUTY_MODE_INIT_QT){
							  state_time = MOVE_FACTOR;
						  }else if(PNP_MOVE_TYPE == DUTY_MODE_INIT_QV){
							  state_time = 0;
						  }
						  Slot_Placement[current_type] = (Slot_Placement[current_type] + 1)%2;
					  }
					  break;
					  case SCARA_MOVE_DOWN_ON_SLOT:{
//						  Object[object_tail_pointer].object_position.z = DOWN_HEIGHT_ON_SLOT;
						  duty_cmd.target_point.z = DOWN_HEIGHT_ON_SLOT;
						  state_time = PUT_DOWN_TIME_ON_SLOT;
					  }
					  break;
					  case SCARA_RELEASE:{
						  state_time = DETACH_TIME;
						  scaraSetOutput(0);
					  }
					  break;
					  case SCARA_MOVE_UP_ON_SLOT:{
						  state_time = PICK_UP_TIME_ON_SLOT;
//						  Object[object_tail_pointer].object_position.z = UP_HEIGHT;
						  duty_cmd.target_point.z = UP_HEIGHT;
					  }
					  break;
				  }

//				  memcpy(&duty_cmd.target_point, &Object[object_tail_pointer].object_position, sizeof(SCARA_PositionTypeDef));
				  duty_cmd.time_total = state_time;
				  if(PNP_MOVE_TYPE == DUTY_MODE_INIT_QT){
					  duty_cmd.v_factor = 0;
				  }else if(PNP_MOVE_TYPE == DUTY_MODE_INIT_QV){
					  duty_cmd.v_factor = MOVE_FACTOR;
				  }
				  duty_cmd.coordinate_type = DUTY_COORDINATES_ABS;

				  SCARA_StatusTypeDef status1;
				  if(operation_state == SCARA_ATTACH || operation_state == SCARA_RELEASE){
					  status1 = SCARA_STATUS_OK;
				  }else{
					  if(operation_state == SCARA_MOVE_DOWN_ON_OBJECT || operation_state == SCARA_MOVE_DOWN_ON_SLOT || operation_state == SCARA_MOVE_UP_ON_OBJECT || operation_state == SCARA_MOVE_UP_ON_SLOT){
						  duty_cmd.path_type = DUTY_PATH_LINE;
						  duty_cmd.space_type = DUTY_SPACE_TASK;
						  duty_cmd.trajec_type = DUTY_TRAJECTORY_LINEAR;
						  duty_cmd.modeInit_type = DUTY_MODE_INIT_QT;
					  }else{
						  duty_cmd.modeInit_type = DUTY_MODE_INIT_QVT;
						  if(pnp_move_option == CMD_MOVE_LINE){
							  duty_cmd.path_type = DUTY_PATH_LINE;
							  duty_cmd.space_type = DUTY_SPACE_TASK;
							  duty_cmd.trajec_type = DUTY_TRAJECTORY_SCURVE;
						  }else if(pnp_move_option == CMD_MOVE_JOINT){
							  duty_cmd.joint_type = DUTY_JOINT_4DOF;
							  duty_cmd.space_type = DUTY_SPACE_JOINT;
							  duty_cmd.trajec_type = DUTY_TRAJECTORY_LSPB;
						  }

					  }
					  status1 = scaraInitDuty(duty_cmd);
//					  if(myDUTY.time_total < 0.2 && operation_state == SCARA_MOVE_TO_TARGET){
//						  object_tail_pointer = (object_tail_pointer+1)%8;
//						  operation_state = SCARA_MOVE_TO_TARGET;
//						  detail_array[0] = OBJECT_UNREACHABLE;
//						  respond_lenght = commandRespond1(RPD_ERROR, duty_cmd.id_command, detail_array, 1, &respond[total_respond_length]);
//						  total_respond_length += respond_lenght;
//						  break;
//					  }
				  }
				  if ( SCARA_STATUS_OK == status1) {
				  	current_duty_state = SCARA_DUTY_STATE_FLOW;
				  	run_time = 0;
				  } else {
					object_tail_pointer = (object_tail_pointer+1)%8;
					operation_state = SCARA_MOVE_TO_TARGET;
					detail_array[0] = status1;
					respond_lenght = commandRespond(RPD_ERROR, duty_cmd.id_command, detail_array, 1, &respond[total_respond_length]);
					total_respond_length += respond_lenght;
//					LOG_REPORT("INIT FAIL", __LINE__);
					break;
				  }
			  }else{
				  method_state = SCARA_METHOD_IDLE;
				  break;
			  }
		  }

		  case SCARA_DUTY_STATE_FLOW:{
			  method_state = SCARA_METHOD_ACTIVE;
			  SCARA_StatusTypeDef status;
			  // Increase run time
			  run_time += T_SAMPLING;
			  // Check Time Out
			  if (scaraIsFinish(run_time)) {
				current_duty_state = SCARA_DUTY_STATE_OPERATION;
				if(operation_state == SCARA_MOVE_UP_ON_SLOT){
					operation_state = SCARA_MOVE_TO_TARGET;
					object_tail_pointer = (object_tail_pointer+1)%8;
				}else{
					operation_state += 1; //next state
				}
				lowlayer_readTruePosition(&positionNext);
				kinematicForward(&positionNext);
			  } else if(operation_state != SCARA_ATTACH && operation_state != SCARA_RELEASE){
				status = scaraFlowDuty(run_time , &positionNext, positionCurrent);
			    if ( SCARA_STATUS_OK == status) {
			  	  lowlayer_computeAndWritePulse(positionCurrent, positionNext);
			    }else{
			  	  current_duty_state = SCARA_DUTY_STATE_FINISH;
			  	  detail_array[0] = status;
			  	  respond_lenght = commandRespond(RPD_ERROR, duty_cmd.id_command, detail_array, 1, &respond[total_respond_length]);
			  	  total_respond_length += respond_lenght;
			    }
			    }
		  }
		  break;

		  case SCARA_DUTY_STATE_FINISH:
			  lowlayer_readTruePosition(&positionNext);
			  kinematicForward(&positionNext);
			  current_duty_state = SCARA_DUTY_STATE_INIT;
			  //error
			  //free(Object);
		  break;
		  }
	  }
	  break;

	  default:
	  {

	  }
	  }
	  if(continuous_update == 1 && update_pos_counter++ >= update_pos_cycle){
		  update_pos_counter = 0;
		  lowlayer_readTruePosition(&update_position);
//		  kinematicForward(&update_position);
		  if(testing_value == 1){
			  testing_value = 0;
			  update_position.D3 = -2000;
		  }
		  respond_lenght = scaraPosition_packaging(detail_array, update_position);
		  respond_lenght = commandRespond(RPD_POSITION, CMD_READ_POSITION, detail_array, respond_lenght, &respond[total_respond_length]);
		  total_respond_length += respond_lenght;
	  }
//	  if(testing_value == 1){
//		  testing_value = 0;
//		  LOG_REPORT1("info", value1, value2);
//	  }
	  /* 4--- Send to PC Phase ---*/
	if(total_respond_length > 0){
		CDC_Transmit_FS(respond, total_respond_length);
	}

	  /* 5--- Update ---*/
	  scaraSetMethod(current_method);
	  scaraSetMode(current_mode);
	  scaraSetDutyState(current_duty_state);

    osDelay(1);
  }
  /* USER CODE END StartDefaultTask */
}

void Start_USB_RX_Task(void const * argument)
{
  /* USER CODE BEGIN Start_USB_RX_Task */
	int32_t distance;
	int32_t id_command;
	DUTY_Command_TypeDef 	duty_cmd;
	Robot_CommandTypedef 	cmd_type;
	Robot_RespondTypedef 	rpd_type;
	uint8_t			 	detail[135];
	uint8_t				respond[145];
	uint8_t 			data_packet[256];
	//uint8_t				message[150];
	int32_t				respond_lenght;
	//int32_t				message_lenght;
	int32_t 			detail_length;

	// Default value
	duty_cmd.key_speed = 1;

  /* Infinite loop */
  for(;;)
  {
	  for(;;) {
		  distance = ringBuff_DistanceOf(&usb_rx_ringbuff, RECEIVE_END);
		  if (distance != -1) {
			  uint8_t temp[distance+1];
			  int32_t ret;
			  ringBuff_PopArray(&usb_rx_ringbuff, temp, distance + 1);
			  ret = unPackPayload(temp, distance + 1, data_packet);

			  if( -1 == ret) {
				  //LOG_REPORT("UNPACK FAIL", __LINE__);
			  } else {
				  //LOG_REPORT((char*) temp, __LINE__);
				  cmd_type = packetRead(data_packet, ret, &id_command, &duty_cmd);
				  memset(detail, 0, sizeof(detail));
				  detail_length = 0;
				  rpd_type = commandReply(cmd_type, duty_cmd, detail, &detail_length);
				  //LOG_REPORT("tail", usb_rx_ringbuff.tail);
				  if ( RPD_DUTY == rpd_type) {
					  DUTY_Command_TypeDef *dataMail;
					  dataMail = NULL;
					  // Wait allocate
					  while (dataMail == NULL) {
						  dataMail = osMailAlloc(commandMailHandle, osWaitForever);
					  }
					  memcpy( dataMail, &duty_cmd, sizeof(DUTY_Command_TypeDef));
					  osStatus result;
					  result = osMailPut(commandMailHandle, dataMail);
					  if (osOK == result) {
						  //LOG_REPORT("DUTY SEND", __LINE__);
					  }

				//   }else if( RPD_POSITION == rpd_type) {
				// 	  CDC_Transmit_FS(detail, 84);
				  }else if(rpd_type == RPD_TRANSFER){

				  }else {
					  respond_lenght	= commandRespond(rpd_type, cmd_type,
							  	  	  	  detail, detail_length,
										  respond);
					  CDC_Transmit_FS(respond, respond_lenght);

				  }
			  }
		  }
	  }
    osDelay(1);// Never go to this place
  }
  /* USER CODE END Start_USB_RX_Task */
}

/************************ (C) COPYRIGHT STMicroelectronics *****END OF FILE****/
